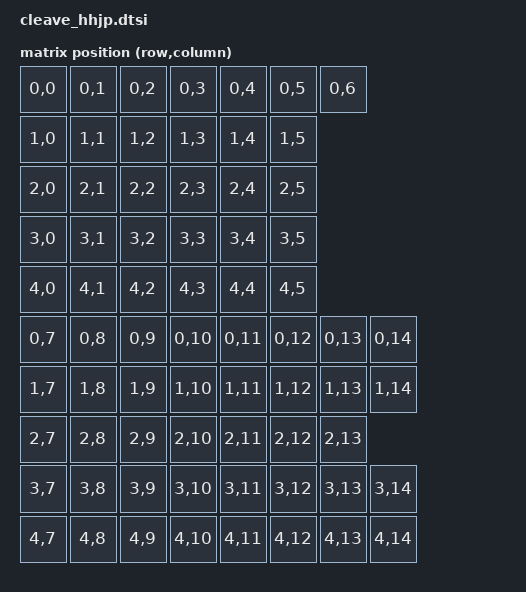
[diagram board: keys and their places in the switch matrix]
/*
 * Copyright (c) 2025
 * SPDX-License-Identifier: MIT
 */

#include <dt-bindings/zmk/matrix_transform.h>

/ {
	chosen {
		zmk,battery = &vbatt;
		zmk,rgbled-widget = &rgbled_widget;
	};

	vbatt: vbatt {
		compatible = "zmk,battery-nrf-vddh";
		label = "BATTERY";
	};

	rgbled_widget: rgbled_widget {
		compatible = "zmk,rgbled-widget";
		label = "RGBLED_WIDGET";
		red-gpios = <&gpio0 26 GPIO_ACTIVE_LOW>;
		green-gpios = <&gpio0 30 GPIO_ACTIVE_LOW>;
		blue-gpios = <&gpio0 6 GPIO_ACTIVE_LOW>;
	};

	default_transform: matrix_transform_0 {
		compatible = "zmk,matrix-transform";
		columns = <15>;
		rows = <5>;

		map = <
		// Left side (7 columns x 5 rows = 31 keys)
		RC(0,0) RC(0,1) RC(0,2) RC(0,3) RC(0,4) RC(0,5) RC(0,6)
		RC(1,0) RC(1,1) RC(1,2) RC(1,3) RC(1,4) RC(1,5)
		RC(2,0) RC(2,1) RC(2,2) RC(2,3) RC(2,4) RC(2,5)
		RC(3,0) RC(3,1) RC(3,2) RC(3,3) RC(3,4) RC(3,5)
		RC(4,0) RC(4,1) RC(4,2) RC(4,3) RC(4,4) RC(4,5)

		// Right side (8 columns x 5 rows = 39 keys)
		RC(0,7) RC(0,8) RC(0,9) RC(0,10) RC(0,11) RC(0,12) RC(0,13) RC(0,14)
		RC(1,7) RC(1,8) RC(1,9) RC(1,10) RC(1,11) RC(1,12) RC(1,13) RC(1,14)
		RC(2,7) RC(2,8) RC(2,9) RC(2,10) RC(2,11) RC(2,12) RC(2,13)
		RC(3,7) RC(3,8) RC(3,9) RC(3,10) RC(3,11) RC(3,12) RC(3,13) RC(3,14)
		RC(4,7) RC(4,8) RC(4,9) RC(4,10) RC(4,11) RC(4,12) RC(4,13) RC(4,14)
		>;
	};
};
